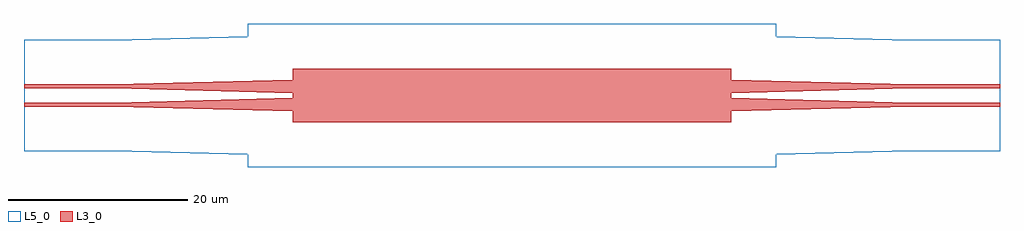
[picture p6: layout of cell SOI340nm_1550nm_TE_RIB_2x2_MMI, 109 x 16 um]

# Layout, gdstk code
import gdstk
lib = gdstk.Library(unit=1e-6, precision=1e-09)
def R(c, l, rs):  # rectangles x0, y0, x1, y1
    for r in rs: c.add(gdstk.rectangle(r[:2], r[2:], *l))
def P(c, l, *ps):  # polygons
    for p in ps: c.add(gdstk.Polygon(p, *l))
L3_0 = (3, 0)
L5_0 = (5, 0)

soi340nm_1550nm_te_rib_2 = lib.new_cell('SOI340nm_1550nm_TE_RIB_2x2_MMI')
R(soi340nm_1550nm_te_rib_2, L3_0, [(-24.5,-3,24.5,3), (-54.5,-1.24,-44.5,-0.79), (44.5,-1.24,54.5,-0.79), (-54.5,0.79,-44.5,1.24), (44.5,0.79,54.5,1.24)])
P(soi340nm_1550nm_te_rib_2, L3_0, [(-24.5,0.265),(-44.5,0.79),(-44.5,1.24),(-24.5,1.765)],
  [(-24.5,-1.765),(-44.5,-1.24),(-44.5,-0.79),(-24.5,-0.265)],
  [(24.5,0.265),(24.5,1.765),(44.5,1.24),(44.5,0.79)],
  [(24.5,-1.765),(24.5,-0.265),(44.5,-0.79),(44.5,-1.24)])
P(soi340nm_1550nm_te_rib_2, L5_0, [(-29.5,-8),(-29.5,-6.635),(-44.555,-6.24),(-54.5,-6.24),(-54.5,6.24),(-44.555,6.24),(-29.5,6.635),(-29.5,8),(29.5,8),(29.5,6.635),(44.555,6.24),(54.5,6.24),(54.5,-6.24),(44.555,-6.24),(29.5,-6.635),(29.5,-8)])

lib.write_gds('SOI340nm_1550nm_TE_RIB_2x2_MMI.gds')
